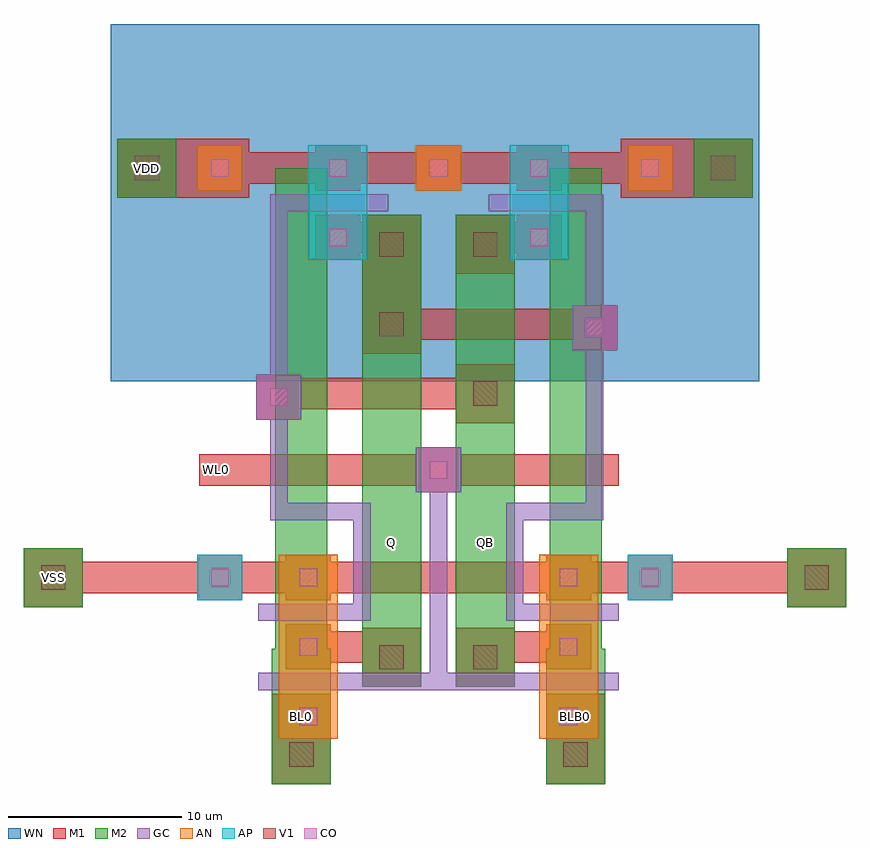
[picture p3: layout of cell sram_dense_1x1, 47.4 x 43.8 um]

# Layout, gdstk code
import gdstk
lib = gdstk.Library(unit=1e-6, precision=1e-07)
def R(c, l, rs):  # rectangles x0, y0, x1, y1
    for r in rs: c.add(gdstk.rectangle(r[:2], r[2:], *l))
def A(c, l, x, y, w, h, nx, ny, dx, dy):  # array of equal rectangles
    R(c, l, [(x+i*dx, y+j*dy, x+i*dx+w, y+j*dy+h) for i in range(nx) for j in range(ny)])
AP = (3, 1)
AN = (3, 2)
GC = (8, 1)
CO = (11, 0)
M1 = (13, 0)
V1 = (19, 0)
M2 = (20, 0)
WN = (140, 0)

sram_dense = lib.new_cell('sram_dense')
R(sram_dense, AP, [(3.3,26.3,6.7,32.9), (14.9,26.3,18.3,32.9)])
R(sram_dense, AN, [(1.6,-1.3,5,9.3), (16.6,-1.3,20,9.3), (9.5,30.3,12.1,32.9)])
R(sram_dense, GC, [(0.4,1.5,6.2,2.5), (2.8,1.5,18.8,2.5), (10.3,1.5,11.3,14.7), (15.4,1.5,21.2,2.5), (0.4,5.5,6.2,6.5), (2.8,5.5,6.9,6.5), (5.9,5.5,6.9,12.3), (14.7,5.5,18.8,6.5), (14.7,5.5,15.7,12.3), (15.4,5.5,21.2,6.5), (1.1,11.3,6.9,12.3), (1.1,11.3,2.1,30.1), (14.7,11.3,20.3,12.3), (19.3,11.3,20.3,30.1), (9.5,12.9,12.1,15.5), (0.3,17.1,2.9,19.7), (18.5,21.1,21.1,23.7), (1.1,29.1,5.5,30.1), (2.1,29.1,7.9,30.1), (13.7,29.1,19.5,30.1), (16.1,29.1,20.3,30.1)])
A(sram_dense, CO, 2.8, -0.5, 1, 1, 1, 3, 0, 4)
A(sram_dense, CO, 17.8, -0.5, 1, 1, 1, 3, 0, 4)
A(sram_dense, CO, 4.5, 31.1, 1, 1, 3, 1, 5.8, 0)
R(sram_dense, CO, [(10.3,13.7,11.3,14.7), (1.1,17.9,2.1,18.9), (19.3,21.9,20.3,22.9), (4.5,27.1,5.5,28.1), (16.1,27.1,17.1,28.1)])
A(sram_dense, M1, 2, -1.3, 2.6, 2.6, 1, 3, 0, 4)
A(sram_dense, M1, 17, -1.3, 2.6, 2.6, 1, 3, 0, 4)
A(sram_dense, M1, 3.7, 30.3, 2.6, 2.6, 3, 1, 5.8, 0)
R(sram_dense, M1, [(1.2,-3.9,4.6,-0.5), (1.2,-3.9,4.6,1.3), (17,-3.9,20.4,-0.5), (17,-3.9,20.4,1.3), (6.4,1.7,9.8,5.1), (11.8,1.7,15.2,5.1), (7.2,2.5,9,4.9), (12.6,2.5,14.4,4.9), (2.4,3.1,9,4.9), (12.6,3.1,19.2,4.9), (0,7.1,21.2,8.9), (9.5,12.9,12.1,15.5), (0,13.3,21.2,15.1), (11.8,16.9,15.2,20.3), (0.3,17.1,2.9,19.7), (0.7,17.7,14.4,19.5), (6.4,20.9,9.8,24.3), (6.4,20.9,9.8,28.9), (18.5,21.1,21.1,23.7), (7.2,21.7,20.7,23.5), (6.4,25.5,9.8,28.9), (11.8,25.5,15.2,28.9), (3.7,26.3,6.3,28.9), (7.2,26.3,9,28.5), (12.6,26.3,14.4,28.5), (15.3,26.3,17.9,28.9), (4.1,26.7,9,28.5), (12.6,26.7,17.5,28.5), (0,30.7,21.2,32.5)])
R(sram_dense, V1, [(2.2,-2.9,3.6,-1.5), (18,-2.9,19.4,-1.5), (7.4,2.7,8.8,4.1), (12.8,2.7,14.2,4.1), (12.8,17.9,14.2,19.3), (7.4,21.9,8.8,23.3), (7.4,26.5,8.8,27.9), (12.8,26.5,14.2,27.9)])
R(sram_dense, M2, [(1.2,-3.9,4.6,-0.5), (1.2,-3.9,4.6,3.9), (1.4,-3.9,4.4,31.6), (17,-3.9,20.4,-0.5), (17,-3.9,20.4,3.9), (17.2,-3.9,20.2,31.6), (6.4,1.7,9.8,5.1), (6.4,1.7,9.8,28.9), (11.8,1.7,15.2,5.1), (11.8,1.7,15.2,28.9), (11.8,16.9,15.2,20.3), (6.4,20.9,9.8,24.3), (6.4,25.5,9.8,28.9), (11.8,25.5,15.2,28.9)])
R(sram_dense, WN, [(-3.7,19.3,25.3,39.9)])

sram_dense_1x1 = lib.new_cell('sram_dense_1x1')
R(sram_dense_1x1, AP, [(-3.1,6.7,-0.5,9.3), (21.7,6.7,24.3,9.3)])
R(sram_dense_1x1, AN, [(-3.1,30.3,-0.5,32.9), (21.7,30.3,24.3,32.9)])
R(sram_dense_1x1, CO, [(-2.3,7.5,-1.3,8.5), (22.5,7.5,23.5,8.5), (-2.3,31.1,-1.3,32.1), (22.5,31.1,23.5,32.1)])
R(sram_dense_1x1, M1, [(-13.1,6.3,-9.7,9.7), (30.9,6.3,34.3,9.7), (-3.1,6.7,-0.5,9.3), (21.7,6.7,24.3,9.3), (-12.3,7.1,0.9,8.9), (0,7.1,21.2,8.9), (20.3,7.1,33.5,8.9), (-3,13.3,21.2,15.1), (-7.7,29.9,-0.1,33.3), (-7.7,29.9,-4.3,33.3), (21.3,29.9,28.9,33.3), (25.5,29.9,28.9,33.3), (-3.1,30.3,-0.5,32.9), (21.7,30.3,24.3,32.9), (-2.7,30.7,0.9,32.5), (0,30.7,21.2,32.5), (20.3,30.7,23.9,32.5)])
R(sram_dense_1x1, V1, [(-12.1,7.3,-10.7,8.7), (31.9,7.3,33.3,8.7), (-6.7,30.9,-5.3,32.3), (26.5,30.9,27.9,32.3)])
R(sram_dense_1x1, M2, [(-13.1,6.3,-9.7,9.7), (-12.9,6.3,-9.9,9.7), (30.9,6.3,34.3,9.7), (31.1,6.3,34.1,9.7), (-7.7,29.9,-4.3,33.3), (-7.5,29.9,-4.5,33.3), (25.5,29.9,28.9,33.3), (25.7,29.9,28.7,33.3)])
R(sram_dense_1x1, WN, [(-8.1,19.3,21.2,39.9), (0,19.3,29.3,39.9)])
sram_dense_1x1.add(gdstk.Reference(sram_dense, (0,0)))
sram_dense_1x1.add(gdstk.Label('WL0', (-2,14.2), layer=48, texttype=0))
sram_dense_1x1.add(gdstk.Label('VDD', (-6,31.6), layer=49, texttype=0))
sram_dense_1x1.add(gdstk.Label('VSS', (-11.4,8), layer=49, texttype=0))
sram_dense_1x1.add(gdstk.Label('BL0', (2.9,0), layer=49, texttype=0))
sram_dense_1x1.add(gdstk.Label('BLB0', (18.7,0), layer=49, texttype=0))
sram_dense_1x1.add(gdstk.Label('Q', (8.1,10), layer=49, texttype=0))
sram_dense_1x1.add(gdstk.Label('QB', (13.5,10), layer=49, texttype=0))

lib.write_gds('sram_dense_1x1.gds')
